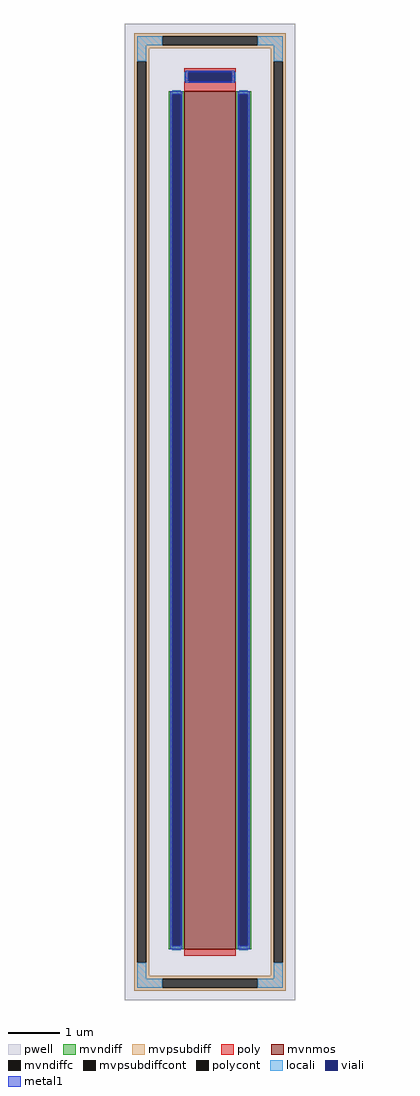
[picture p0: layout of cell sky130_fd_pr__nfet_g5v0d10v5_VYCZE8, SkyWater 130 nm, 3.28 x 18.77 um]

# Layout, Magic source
magic
tech sky130A
magscale 1 2
<< pwell >>
rect -328 -1877 328 1877
<< mvnmos >>
rect -100 -1681 100 1619
<< mvndiff >>
rect -158 1607 -100 1619
rect -158 -1669 -146 1607
rect -112 -1669 -100 1607
rect -158 -1681 -100 -1669
rect 100 1607 158 1619
rect 100 -1669 112 1607
rect 146 -1669 158 1607
rect 100 -1681 158 -1669
<< mvndiffc >>
rect -146 -1669 -112 1607
rect 112 -1669 146 1607
<< mvpsubdiff >>
rect -292 1829 292 1841
rect -292 1795 -184 1829
rect 184 1795 292 1829
rect -292 1783 292 1795
rect -292 1733 -234 1783
rect -292 -1733 -280 1733
rect -246 -1733 -234 1733
rect 234 1733 292 1783
rect -292 -1783 -234 -1733
rect 234 -1733 246 1733
rect 280 -1733 292 1733
rect 234 -1783 292 -1733
rect -292 -1795 292 -1783
rect -292 -1829 -184 -1795
rect 184 -1829 292 -1795
rect -292 -1841 292 -1829
<< mvpsubdiffcont >>
rect -184 1795 184 1829
rect -280 -1733 -246 1733
rect 246 -1733 280 1733
rect -184 -1829 184 -1795
<< poly >>
rect -100 1691 100 1707
rect -100 1657 -84 1691
rect 84 1657 100 1691
rect -100 1619 100 1657
rect -100 -1707 100 -1681
<< polycont >>
rect -84 1657 84 1691
<< locali >>
rect -280 1795 -184 1829
rect 184 1795 280 1829
rect -280 1733 -246 1795
rect 246 1733 280 1795
rect -100 1657 -84 1691
rect 84 1657 100 1691
rect -146 1607 -112 1623
rect -146 -1685 -112 -1669
rect 112 1607 146 1623
rect 112 -1685 146 -1669
rect -280 -1795 -246 -1733
rect 246 -1795 280 -1733
rect -280 -1829 -184 -1795
rect 184 -1829 280 -1795
<< viali >>
rect -84 1657 84 1691
rect -146 -1669 -112 1607
rect 112 -1669 146 1607
<< metal1 >>
rect -96 1691 96 1697
rect -96 1657 -84 1691
rect 84 1657 96 1691
rect -96 1651 96 1657
rect -152 1607 -106 1619
rect -152 -1669 -146 1607
rect -112 -1669 -106 1607
rect -152 -1681 -106 -1669
rect 106 1607 152 1619
rect 106 -1669 112 1607
rect 146 -1669 152 1607
rect 106 -1681 152 -1669
<< properties >>
string FIXED_BBOX -263 -1812 263 1812
string gencell sky130_fd_pr__nfet_g5v0d10v5
string library sky130
string parameters w 16.5 l 1.0 m 1 nf 1 diffcov 100 polycov 100 guard 1 glc 1 grc 1 gtc 1 gbc 1 tbcov 100 rlcov 100 topc 1 botc 0 poverlap 0 doverlap 1 lmin 0.50 wmin 0.42 compatible {sky130_fd_pr__nfet_01v8 sky130_fd_pr__nfet_01v8_lvt  sky130_fd_bs_flash__special_sonosfet_star  sky130_fd_pr__nfet_g5v0d10v5 sky130_fd_pr__nfet_05v0_nvt  sky130_fd_pr__nfet_03v3_nvt} full_metal 1 viasrc 100 viadrn 100 viagate 100 viagb 0 viagr 0 viagl 0 viagt 0
<< end >>
